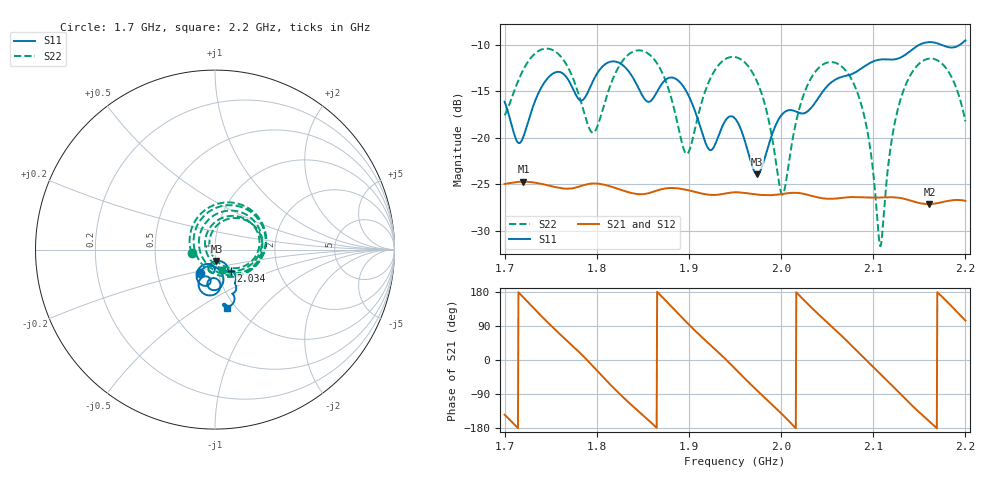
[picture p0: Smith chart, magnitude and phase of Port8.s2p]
# Hz S RI R 50
! CMT, CMT808U, 21440046, 21.4.3/4
! Date: 11/17/2025 2:47:52 PM
! Data: Format (Calibration Info)
! Freq	S11:Re/Im(F2)	S41:Re/Im(F2)	S14:Re/Im(F2)	S44:Re/Im(F2)
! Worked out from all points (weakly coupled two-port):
!   1001 points, 1.7 GHz to 2.2 GHz, reference 50 ohm
!   highest |S21| = -24.71 dB at 1.72 GHz (marker M1); lowest = -27.1 dB at 2.161 GHz (marker M2)
!   lowest |S11| = -23.9 dB at 1.974 GHz (marker M3), VSWR 1.14, Z = 50.4 - j6.4 ohm
!   |S11| at or under -10 dB: start of sweep to 2.15 GHz; 2.174 GHz to 2.194 GHz (20.13 MHz wide, 0.922 % of centre)
!   |S22| runs from -31.7 to -10.4 dB; largest |S21 - S12| = 0.00023
!   S11 on the Smith chart (normalised r, x): 1.7 GHz: 0.82, -0.22; 2.034 GHz: 1.16, -0.28; 2.2 GHz: 0.91, -0.67
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1.7e9  -0.083 -0.1325  -0.0459 -0.0329  -0.046 -0.0329  -0.1308 -0.0189
1.7205e9  0.00952 -0.1013  -0.0561 0.0152  -0.0562 0.0153  -0.042 0.2298
1.754e9  0.01 -0.2236  0.00756 0.054  0.00763 0.0541  0.2846 0.0701
1.7835e9  -0.0054 -0.1585  0.0534 0.0142  0.0535 0.0141  0.0364 -0.1478
1.7975e9  0.0301 -0.2071  0.0531 -0.0203  0.0532 -0.0204  -0.1019 -0.0342
1.8275e9  -0.0744 -0.2359  -0.00519 -0.052  -0.00527 -0.0521  0.0711 0.2473
1.8485e9  -0.0733 -0.1559  -0.0393 -0.0305  -0.0394 -0.0305  0.2701 0.1171
1.867e9  -0.0249 -0.1809  -0.0523 0.00352  -0.0524 0.00361  0.2287 -0.0854
1.898e9  -0.1024 -0.1417  -0.00751 0.0519  -0.00747 0.052  -0.0769 -0.0284
1.9225e9  -0.0298 -0.0808  0.0372 0.0325  0.0373 0.0326  0.0194 0.2038
1.95e9  -0.0299 -0.1235  0.047 -0.0197  0.0471 -0.0198  0.2527 0.1001
1.974e9  0.00786 -0.0633  0.00816 -0.0488  0.0081 -0.049  0.1722 -0.1019
2.0015e9  0.0712 -0.1138  -0.0404 -0.0292  -0.0406 -0.0292  -0.0468 -0.0161
2.0335e9  0.0871 -0.1179  -0.0356 0.0332  -0.0357 0.0334  0.1008 0.1879
2.034e9  0.0883 -0.1183  -0.0349 0.0339  -0.0349 0.034  0.1052 0.1878
2.0805e9  0.1139 -0.1937  0.0423 0.0228  0.0424 0.0228  0.1631 -0.0918
2.095e9  0.1176 -0.2206  0.0475 -0.00525  0.0476 -0.00533  0.0445 -0.0889
2.1075e9  0.1052 -0.2417  0.0387 -0.028  0.0388 -0.0281  -0.0242 -0.00992
2.117e9  0.0958 -0.2456  0.0248 -0.041  0.0248 -0.0412  -0.0265 0.0712
2.1345e9  0.106 -0.258  -0.00978 -0.0459  -0.00991 -0.046  0.0782 0.1719
2.161e9  0.0737 -0.3185  -0.0419 -0.0134  -0.042 -0.0134  0.2585 0.0651
2.2e9  0.0679 -0.3268  -0.0112 0.0445  -0.0111 0.0446  0.0406 -0.1156
